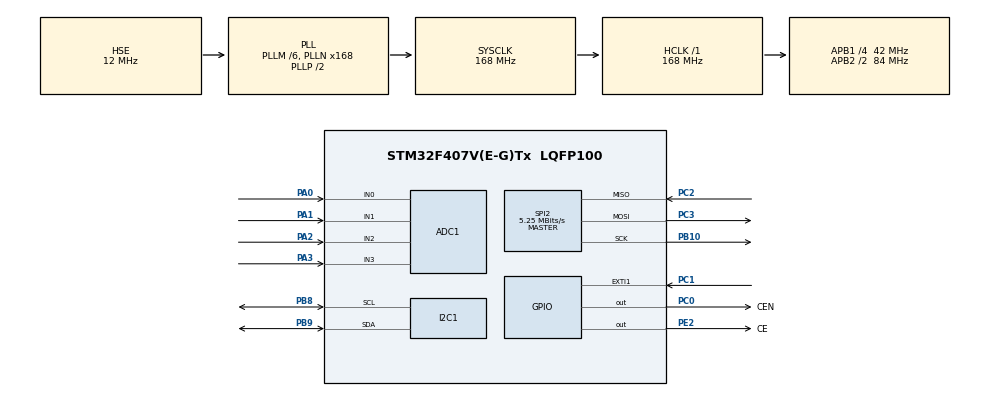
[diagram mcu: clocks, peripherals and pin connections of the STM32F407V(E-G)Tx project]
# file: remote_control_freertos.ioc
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ADC1.Channel-0\#ChannelRegularConversion=ADC_CHANNEL_0
ADC1.Channel-1\#ChannelRegularConversion=ADC_CHANNEL_1
ADC1.Channel-2\#ChannelRegularConversion=ADC_CHANNEL_2
ADC1.Channel-3\#ChannelRegularConversion=ADC_CHANNEL_3
ADC1.ClockPrescaler=ADC_CLOCK_SYNC_PCLK_DIV8
ADC1.ContinuousConvMode=ENABLE
ADC1.DMAContinuousRequests=ENABLE
ADC1.NbrOfConversion=4
ADC1.NbrOfConversionFlag=1
ADC1.Rank-0\#ChannelRegularConversion=1
ADC1.Rank-1\#ChannelRegularConversion=2
ADC1.Rank-2\#ChannelRegularConversion=3
ADC1.Rank-3\#ChannelRegularConversion=4
ADC1.SamplingTime-0\#ChannelRegularConversion=ADC_SAMPLETIME_480CYCLES
ADC1.SamplingTime-1\#ChannelRegularConversion=ADC_SAMPLETIME_480CYCLES
ADC1.SamplingTime-2\#ChannelRegularConversion=ADC_SAMPLETIME_480CYCLES
ADC1.SamplingTime-3\#ChannelRegularConversion=ADC_SAMPLETIME_480CYCLES
ADC1.ScanConvMode=ENABLE
ADC1.master=1
Dma.ADC1.0.Direction=DMA_PERIPH_TO_MEMORY
Dma.ADC1.0.FIFOMode=DMA_FIFOMODE_DISABLE
Dma.ADC1.0.Instance=DMA2_Stream0
Dma.ADC1.0.MemDataAlignment=DMA_MDATAALIGN_HALFWORD
Dma.ADC1.0.MemInc=DMA_MINC_ENABLE
Dma.ADC1.0.Mode=DMA_CIRCULAR
Dma.ADC1.0.PeriphDataAlignment=DMA_PDATAALIGN_HALFWORD
Dma.ADC1.0.PeriphInc=DMA_PINC_DISABLE
Dma.ADC1.0.Priority=DMA_PRIORITY_LOW
Dma.Request0=ADC1
FREERTOS.Tasks01=defaultTask,24,128,StartDefaultTask,Default,NULL,Dynamic,NULL,NULL;OLED_Task,17,256,StartOLED_Task,Default,NULL,Dynamic,NULL,NULL;ADC_Task,8,256,StartADC_Task,Default,NULL,Dynamic,NULL,NULL;wireless_Task,39,256,Startwireless_Task,Default,NULL,Dynamic,NULL,NULL
Mcu.Family=STM32F4
Mcu.Name=STM32F407V(E-G)Tx
Mcu.Package=LQFP100
NVIC.DMA2_Stream0_IRQn=true\:5\:0\:false\:false\:true\:true\:false\:true\:true
NVIC.EXTI1_IRQn=true\:5\:0\:false\:false\:true\:true\:true\:true\:true
NVIC.PriorityGroup=NVIC_PRIORITYGROUP_4
NVIC.TIM1_UP_TIM10_IRQn=true\:15\:0\:false\:false\:true\:false\:false\:true\:true
NVIC.TimeBase=TIM1_UP_TIM10_IRQn
NVIC.TimeBaseIP=TIM1
PA0-WKUP.Signal=ADCx_IN0
PA1.Signal=ADCx_IN1
PA13.Mode=Serial_Wire
PA13.Signal=SYS_JTMS-SWDIO
PA14.Mode=Serial_Wire
PA14.Signal=SYS_JTCK-SWCLK
PA2.Signal=ADCx_IN2
PA3.Signal=ADCx_IN3
PB10.Mode=Full_Duplex_Master
PB10.Signal=SPI2_SCK
PB8.Mode=I2C
PB8.Signal=I2C1_SCL
PB9.Mode=I2C
PB9.Signal=I2C1_SDA
PC0.GPIO_Label=CEN
PC0.Signal=GPIO_Output
PC1.GPIO_ModeDefaultEXTI=GPIO_MODE_IT_FALLING
PC1.GPIO_PuPd=GPIO_PULLUP
PC1.Signal=GPXTI1
PC2.Mode=Full_Duplex_Master
PC2.Signal=SPI2_MISO
PC3.Mode=Full_Duplex_Master
PC3.Signal=SPI2_MOSI
PE2.GPIO_Label=CE
PE2.Signal=GPIO_Output
PH0-OSC_IN.Mode=HSE-External-Oscillator
PH0-OSC_IN.Signal=RCC_OSC_IN
PH1-OSC_OUT.Mode=HSE-External-Oscillator
PH1-OSC_OUT.Signal=RCC_OSC_OUT
ProjectManager.HeapSize=0x200
ProjectManager.StackSize=0x400
ProjectManager.TargetToolchain=CMake
RCC.48MHZClocksFreq_Value=84000000
RCC.AHBFreq_Value=168000000
RCC.APB1CLKDivider=RCC_HCLK_DIV4
RCC.APB1Freq_Value=42000000
RCC.APB1TimFreq_Value=84000000
RCC.APB2CLKDivider=RCC_HCLK_DIV2
RCC.APB2Freq_Value=84000000
RCC.APB2TimFreq_Value=168000000
RCC.CortexFreq_Value=168000000
RCC.HCLKFreq_Value=168000000
RCC.HSE_VALUE=12000000
RCC.HSI_VALUE=16000000
RCC.LSE_VALUE=32768
RCC.PLLM=6
RCC.PLLN=168
RCC.PLLSourceVirtual=RCC_PLLSOURCE_HSE
RCC.SYSCLKFreq_VALUE=168000000
RCC.SYSCLKSource=RCC_SYSCLKSOURCE_PLLCLK
RCC.VCOOutputFreq_Value=336000000
SH.ADCx_IN0.0=ADC1_IN0,IN0
SH.ADCx_IN1.0=ADC1_IN1,IN1
SH.ADCx_IN2.0=ADC1_IN2,IN2
SH.ADCx_IN3.0=ADC1_IN3,IN3
SPI2.BaudRatePrescaler=SPI_BAUDRATEPRESCALER_8
SPI2.CalculateBaudRate=5.25 MBits/s
SPI2.Direction=SPI_DIRECTION_2LINES
SPI2.Mode=SPI_MODE_MASTER
SPI2.VirtualType=VM_MASTER
VP_FREERTOS_VS_CMSIS_V2.Mode=CMSIS_V2
VP_SYS_VS_tim1.Mode=TIM1
board=custom

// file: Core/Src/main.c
/* USER CODE BEGIN Header */
/**
  ******************************************************************************
  * @file           : main.c
  * @brief          : Main program body
  ******************************************************************************
  * @attention
  *
  * Copyright (c) 2025 STMicroelectronics.
  * All rights reserved.
  *
  * This software is licensed under terms that can be found in the LICENSE file
  * in the root directory of this software component.
  * If no LICENSE file comes with this software, it is provided AS-IS.
  *
  ******************************************************************************
  */
/* USER CODE END Header */
#include "main.h"
#include "cmsis_os.h"
#include "adc.h"
#include "dma.h"
#include "i2c.h"
#include "spi.h"
#include "gpio.h"

/* USER CODE BEGIN Includes */
#include "OLED.h"
#include "dwt_delay.h"
/* USER CODE END Includes */

void SystemClock_Config(void);
void MX_FREERTOS_Init(void);

int main(void)
{

  /* MCU Configuration--------------------------------------------------------*/

  /* Reset of all peripherals, Initializes the Flash interface and the Systick. */
  HAL_Init();

  /* Configure the system clock */
  SystemClock_Config();

  /* Initialize all configured peripherals */
  MX_GPIO_Init();
  MX_DMA_Init();
  MX_ADC1_Init();
  MX_I2C1_Init();
  MX_SPI2_Init();
  /* USER CODE BEGIN 2 */
  DWT_Delay_Init();
  OLED_Init();

  /* USER CODE END 2 */

  /* Init scheduler */
  osKernelInitialize();  /* Call init function for freertos objects (in cmsis_os2.c) */
  MX_FREERTOS_Init();

  /* Start scheduler */
  osKernelStart();

  /* We should never get here as control is now taken by the scheduler */

  /* Infinite loop */
  while (1)
  {

  }
}

void SystemClock_Config(void)
{
  RCC_OscInitTypeDef RCC_OscInitStruct = {0};
  RCC_ClkInitTypeDef RCC_ClkInitStruct = {0};

  /** Configure the main internal regulator output voltage
  */
  __HAL_RCC_PWR_CLK_ENABLE();
  __HAL_PWR_VOLTAGESCALING_CONFIG(PWR_REGULATOR_VOLTAGE_SCALE1);

  /** Initializes the RCC Oscillators according to the specified parameters
  * in the RCC_OscInitTypeDef structure.
  */
  RCC_OscInitStruct.OscillatorType = RCC_OSCILLATORTYPE_HSE;
  RCC_OscInitStruct.HSEState = RCC_HSE_ON;
  RCC_OscInitStruct.PLL.PLLState = RCC_PLL_ON;
  RCC_OscInitStruct.PLL.PLLSource = RCC_PLLSOURCE_HSE;
  RCC_OscInitStruct.PLL.PLLM = 6;
  RCC_OscInitStruct.PLL.PLLN = 168;
  RCC_OscInitStruct.PLL.PLLP = RCC_PLLP_DIV2;
  RCC_OscInitStruct.PLL.PLLQ = 4;
  if (HAL_RCC_OscConfig(&RCC_OscInitStruct) != HAL_OK)
  {
    Error_Handler();
  }

  /** Initializes the CPU, AHB and APB buses clocks
  */
  RCC_ClkInitStruct.ClockType = RCC_CLOCKTYPE_HCLK|RCC_CLOCKTYPE_SYSCLK
                              |RCC_CLOCKTYPE_PCLK1|RCC_CLOCKTYPE_PCLK2;
  RCC_ClkInitStruct.SYSCLKSource = RCC_SYSCLKSOURCE_PLLCLK;
  RCC_ClkInitStruct.AHBCLKDivider = RCC_SYSCLK_DIV1;
  RCC_ClkInitStruct.APB1CLKDivider = RCC_HCLK_DIV4;
  RCC_ClkInitStruct.APB2CLKDivider = RCC_HCLK_DIV2;

  if (HAL_RCC_ClockConfig(&RCC_ClkInitStruct, FLASH_LATENCY_5) != HAL_OK)
  {
    Error_Handler();
  }
}

void HAL_TIM_PeriodElapsedCallback(TIM_HandleTypeDef *htim)
{
  if (htim->Instance == TIM1)
  {
    HAL_IncTick();
  }
}

void Error_Handler(void)
{
  __disable_irq();
  while (1)
  {
  }
}

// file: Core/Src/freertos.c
/* USER CODE BEGIN Header */
/**
  ******************************************************************************
  * File Name          : freertos.c
  * Description        : Code for freertos applications
  ******************************************************************************
  * @attention
  *
  * Copyright (c) 2025 STMicroelectronics.
  * All rights reserved.
  *
  * This software is licensed under terms that can be found in the LICENSE file
  * in the root directory of this software component.
  * If no LICENSE file comes with this software, it is provided AS-IS.
  *
  ******************************************************************************
  */
/* USER CODE END Header */

#include "FreeRTOS.h"
#include "task.h"
#include "main.h"
#include "cmsis_os.h"

/* USER CODE BEGIN Includes */
#include "OLED.h"
#include <stdio.h>
#include <string.h>
#include "bsp_spi.h"
#include "adc.h"
/* USER CODE END Includes */

/* USER CODE BEGIN Variables */
// nRF24L01+事件标志用于中断通信
osEventFlagsId_t nrf24_event_flags;

// ADC Ping-Pong DMA事件标志
osEventFlagsId_t adc_pingpong_event_flags;
#define PING_BUFFER_READY    (1 << 0)  // Ping缓冲区数据就绪
#define PONG_BUFFER_READY    (1 << 1)  // Pong缓冲区数据就绪
#define DMA_ERROR_FLAG       (1 << 2)  // DMA错误标志

// ADC全局变量声明
volatile uint16_t ch0_avg, ch1_avg, ch2_avg, ch3_avg;

// ADC Ping-Pong双缓冲区 (每个缓冲区8个样本 = 4通道 * 2次采样)
#define PING_PONG_BUFFER_SIZE  8  // 4通道 * 2次采样
volatile uint16_t adc_ping_buffer[PING_PONG_BUFFER_SIZE];  // Ping缓冲区
volatile uint16_t adc_pong_buffer[PING_PONG_BUFFER_SIZE];  // Pong缓冲区
volatile uint16_t adc_pingpong_buffer[PING_PONG_BUFFER_SIZE * 2]; // 完整DMA缓冲区

// Ping-Pong状态管理
volatile uint8_t current_processing_buffer = 0; // 0=处理Ping, 1=处理Pong
volatile uint32_t ping_pong_count = 0;
volatile uint32_t data_ready_count = 0;
/* USER CODE END Variables */
/* Definitions for defaultTask */
osThreadId_t defaultTaskHandle;
const osThreadAttr_t defaultTask_attributes = {
  .name = "defaultTask",
  .stack_size = 128 * 4,
  .priority = (osPriority_t) osPriorityNormal,
};
/* Definitions for OLED_Task */
osThreadId_t OLED_TaskHandle;
const osThreadAttr_t OLED_Task_attributes = {
  .name = "OLED_Task",
  .stack_size = 256 * 4,
  .priority = (osPriority_t) osPriorityBelowNormal1,
};
/* Definitions for ADC_Task */
osThreadId_t ADC_TaskHandle;
const osThreadAttr_t ADC_Task_attributes = {
  .name = "ADC_Task",
  .stack_size = 256 * 4,
  .priority = (osPriority_t) osPriorityLow,
};
/* Definitions for wireless_Task */
osThreadId_t wireless_TaskHandle;
const osThreadAttr_t wireless_Task_attributes = {
  .name = "wireless_Task",
  .stack_size = 256 * 4,
  .priority = (osPriority_t) osPriorityAboveNormal7,
};

void StartDefaultTask(void *argument);
void StartOLED_Task(void *argument);
void StartADC_Task(void *argument);
void Startwireless_Task(void *argument);

void MX_FREERTOS_Init(void); /* (MISRA C 2004 rule 8.1) */

void MX_FREERTOS_Init(void) {
  /* USER CODE BEGIN Init */
  // 创建nRF24L01+事件标志
  nrf24_event_flags = osEventFlagsNew(NULL);

  // 创建ADC Ping-Pong事件标志
  adc_pingpong_event_flags = osEventFlagsNew(NULL);

  /* USER CODE END Init */

  /* Create the thread(s) */
  /* creation of defaultTask */
  defaultTaskHandle = osThreadNew(StartDefaultTask, NULL, &defaultTask_attributes);

  /* creation of OLED_Task */
  OLED_TaskHandle = osThreadNew(StartOLED_Task, NULL, &OLED_Task_attributes);

  /* creation of ADC_Task */
  ADC_TaskHandle = osThreadNew(StartADC_Task, NULL, &ADC_Task_attributes);

  /* creation of wireless_Task */
  wireless_TaskHandle = osThreadNew(Startwireless_Task, NULL, &wireless_Task_attributes);

}

void StartDefaultTask(void *argument)
{
  for(;;)
  {
    osDelay(1);
  }
}

void StartOLED_Task(void *argument)
{
  /* USER CODE BEGIN StartOLED_Task */
  uint32_t counter = 0;
  char buffer[20];

  /* Infinite loop */
  for(;;)
  {
    // 更新计数器显示

    osDelay(1000); // 每秒更新一次
  }
  /* USER CODE END StartOLED_Task */
}

void StartADC_Task(void *argument)
{
  /* USER CODE BEGIN StartADC_Task */

  char buffer[25];
  uint32_t flags;

  // 初始化Ping-Pong缓冲区
  for(int i = 0; i < PING_PONG_BUFFER_SIZE * 2; i++) {
    adc_pingpong_buffer[i] = 0;
  }

  // 启动DMA连续转换，使用双倍大小的缓冲区实现Ping-Pong
  HAL_ADC_Start_DMA(&hadc1, (uint32_t*)adc_pingpong_buffer, PING_PONG_BUFFER_SIZE * 2);

  /* Infinite loop */
  for(;;)
  {
    // 等待缓冲区数据就绪事件，超时时间1秒
    flags = osEventFlagsWait(adc_pingpong_event_flags,
                            PING_BUFFER_READY | PONG_BUFFER_READY | DMA_ERROR_FLAG,
                            osFlagsWaitAny, 1000);

    if (flags & PING_BUFFER_READY) {
      // Ping缓冲区数据就绪，处理前半部分数据
      // 计算每个通道的平均值（2次采样）
      ch0_avg = (adc_pingpong_buffer[0] + adc_pingpong_buffer[4]) / 2;
      ch1_avg = (adc_pingpong_buffer[1] + adc_pingpong_buffer[5]) / 2;
      ch2_avg = (adc_pingpong_buffer[2] + adc_pingpong_buffer[6]) / 2;
      ch3_avg = (adc_pingpong_buffer[3] + adc_pingpong_buffer[7]) / 2;

      current_processing_buffer = 0; // 正在处理Ping

    } else if (flags & PONG_BUFFER_READY) {
      // Pong缓冲区数据就绪，处理后半部分数据
      // 计算每个通道的平均值（2次采样）
      ch0_avg = (adc_pingpong_buffer[8] + adc_pingpong_buffer[12]) / 2;
      ch1_avg = (adc_pingpong_buffer[9] + adc_pingpong_buffer[13]) / 2;
      ch2_avg = (adc_pingpong_buffer[10] + adc_pingpong_buffer[14]) / 2;
      ch3_avg = (adc_pingpong_buffer[11] + adc_pingpong_buffer[15]) / 2;

      current_processing_buffer = 1; // 正在处理Pong

    }

    // 显示处理后的数据
    sprintf(buffer, "CH0:%04u", ch0_avg);
    OLED_ShowString(1, 1, buffer);
    sprintf(buffer, "CH1:%04u", ch1_avg);
    OLED_ShowString(2, 1, buffer);
    sprintf(buffer, "CH2:%04u", ch2_avg);
    OLED_ShowString(3, 1, buffer);
    sprintf(buffer, "CH3:%04u", ch3_avg);
    OLED_ShowString(4, 1, buffer);

    data_ready_count++;
  }
  /* USER CODE END StartADC_Task */
}

void Startwireless_Task(void *argument)
{
  /* USER CODE BEGIN Startwireless_Task */
  char packet_a[20];
  char packet_b[20];

  // nRF24L01+ 地址配置
  uint8_t address[5] = {0xE7, 0xE7, 0xE7, 0xE7, 0xE7};

  // 初始化nRF24L01+
  NRF24_GPIO_Init();
  osDelay(100);

  if (NRF24_TestConnection()) {
    NRF24_Init();
    NRF24_WriteRegister(NRF24_REG_STATUS, 0x70);
    NRF24_FlushTx();
    NRF24_FlushRx();
    osDelay(10);
    NRF24_SetTxModeDynamic(address);
    NRF24_WriteRegister(NRF24_REG_STATUS, 0x70);
  }

  /* Infinite loop */
  for(;;)
  {
    // 发送A包：CH0和CH1数据
    sprintf(packet_a, "A:%04d,%04d", ch0_avg, ch1_avg);
    NRF24_TransmitDynamic((uint8_t*)packet_a, strlen(packet_a));
    osDelay(400);

    // 发送B包：CH2和CH3数据
    sprintf(packet_b, "B:%04d,%04d", ch2_avg, ch3_avg);
    NRF24_TransmitDynamic((uint8_t*)packet_b, strlen(packet_b));
    osDelay(400);  // 总周期1.5秒
  }
  /* USER CODE END Startwireless_Task */
}

/* USER CODE BEGIN Application */

/**
 * @brief  ADC DMA转换完成回调函数 (Ping-Pong Pong缓冲区就绪)
 * @param  hadc: ADC句柄
 */
void HAL_ADC_ConvCpltCallback(ADC_HandleTypeDef* hadc)
{
  if (hadc->Instance == ADC1) {
    // DMA完全转换完成 = Pong缓冲区（后半部分）数据就绪
    ping_pong_count++;

    // 设置Pong缓冲区就绪事件标志
    if (adc_pingpong_event_flags != NULL) {
      osEventFlagsSet(adc_pingpong_event_flags, PONG_BUFFER_READY);
    }
  }
}

/**
 * @brief  ADC DMA半传输完成回调函数 (Ping-Pong Ping缓冲区就绪)
 * @param  hadc: ADC句柄
 */
void HAL_ADC_ConvHalfCpltCallback(ADC_HandleTypeDef* hadc)
{
  if (hadc->Instance == ADC1) {
    // DMA半传输完成 = Ping缓冲区（前半部分）数据就绪
    ping_pong_count++;

    // 设置Ping缓冲区就绪事件标志
    if (adc_pingpong_event_flags != NULL) {
      osEventFlagsSet(adc_pingpong_event_flags, PING_BUFFER_READY);
    }
  }
}

/**
 * @brief  ADC错误回调函数
 * @param  hadc: ADC句柄
 */
void HAL_ADC_ErrorCallback(ADC_HandleTypeDef* hadc)
{
  if (hadc->Instance == ADC1) {
    // 设置DMA错误事件标志
    if (adc_pingpong_event_flags != NULL) {
      osEventFlagsSet(adc_pingpong_event_flags, DMA_ERROR_FLAG);
    }
  }
}

/* USER CODE END Application */
